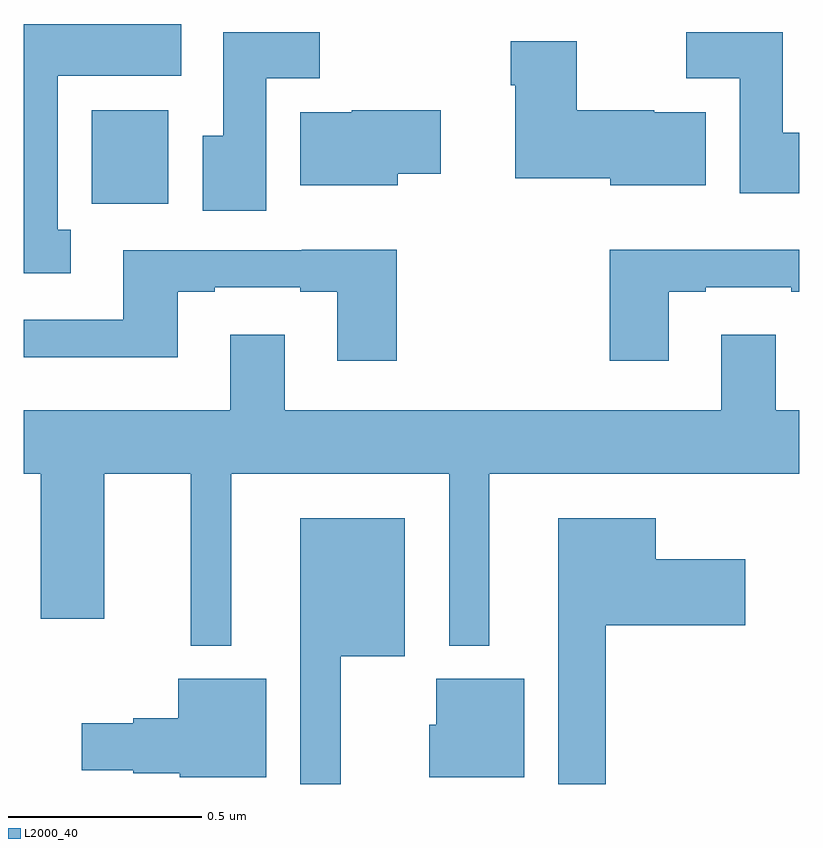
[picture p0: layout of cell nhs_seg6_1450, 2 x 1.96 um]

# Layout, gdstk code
import gdstk
lib = gdstk.Library(unit=1e-6, precision=1e-09)
def R(c, l, rs):  # rectangles x0, y0, x1, y1
    for r in rs: c.add(gdstk.rectangle(r[:2], r[2:], *l))
def P(c, l, *ps):  # polygons
    for p in ps: c.add(gdstk.Polygon(p, *l))
L2000_40 = (2000, 40)

nhs_seg6_1450 = lib.new_cell('nhs_seg6_1450')
R(nhs_seg6_1450, L2000_40, [(129.176,983.996,129.373,984.238)])
P(nhs_seg6_1450, L2000_40, [(129.121,983.93),(129.088,983.93),(129.088,984.326),(129.406,984.326),(129.406,984.46),(129,984.46),(129,983.817),(129.121,983.817)],
  [(131,984.18),(130.957,984.18),(130.957,984.439),(130.708,984.439),(130.708,984.32),(130.847,984.32),(130.847,984.024),(131,984.024)],
  [(129.625,984.32),(129.764,984.32),(129.764,984.439),(129.515,984.439),(129.515,984.172),(129.461,984.172),(129.461,983.979),(129.625,983.979)],
  [(130.759,984.232),(130.626,984.232),(130.626,984.238),(130.426,984.238),(130.426,984.415),(130.256,984.415),(130.256,984.302),(130.268,984.302),(130.268,984.062),(130.512,984.062),(130.512,984.044),(130.759,984.044)],
  [(129.964,984.074),(130.075,984.074),(130.075,984.238),(129.846,984.238),(129.846,984.232),(129.713,984.232),(129.713,984.044),(129.964,984.044)],
  [(130.663,983.769),(130.759,983.769),(130.759,983.781),(130.979,983.781),(130.979,983.769),(131,983.769),(131,983.878),(130.511,983.878),(130.511,983.592),(130.663,983.592)],
  [(129.962,983.878),(129.717,983.878),(129.717,983.877),(129.257,983.877),(129.257,983.697),(129,983.697),(129,983.6),(129.397,983.6),(129.397,983.769),(129.493,983.769),(129.493,983.781),(129.713,983.781),(129.713,983.769),(129.809,983.769),(129.809,983.592),(129.962,983.592)],
  [(129.535,983.3),(130.097,983.3),(130.097,982.856),(130.201,982.856),(130.201,983.3),(131,983.3),(131,983.464),(130.939,983.464),(130.939,983.659),(130.799,983.659),(130.799,983.464),(129.673,983.464),(129.673,983.659),(129.533,983.659),(129.533,983.464),(129,983.464),(129,983.3),(129.044,983.3),(129.044,982.926),(129.208,982.926),(129.208,983.3),(129.431,983.3),(129.431,982.856),(129.535,982.856)],
  [(130.501,982.91),(130.861,982.91),(130.861,983.08),(130.63,983.08),(130.63,983.185),(130.379,983.185),(130.379,982.5),(130.501,982.5)],
  [(129.817,982.829),(129.982,982.829),(129.982,983.185),(129.713,983.185),(129.713,982.5),(129.817,982.5)],
  [(129.625,982.771),(129.398,982.771),(129.398,982.67),(129.282,982.67),(129.282,982.657),(129.15,982.657),(129.15,982.535),(129.282,982.535),(129.282,982.528),(129.402,982.528),(129.402,982.517),(129.625,982.517)],
  [(130.291,982.771),(130.064,982.771),(130.064,982.653),(130.046,982.653),(130.046,982.517),(130.291,982.517)])

lib.write_gds('nhs_seg6_1450.gds')
